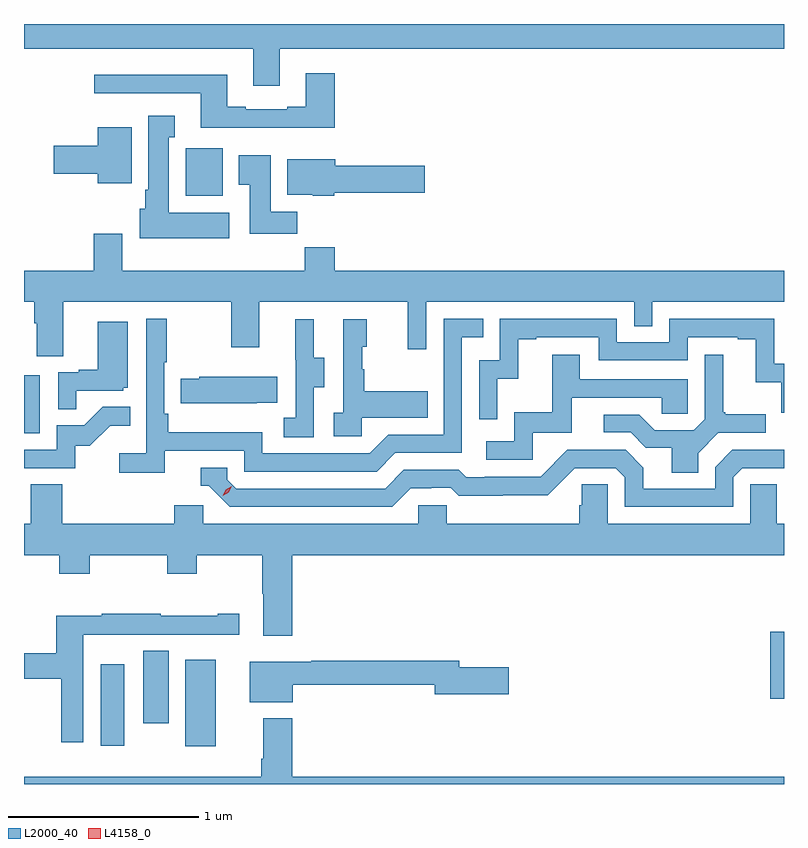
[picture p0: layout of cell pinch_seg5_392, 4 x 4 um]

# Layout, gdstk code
import gdstk
lib = gdstk.Library(unit=1e-6, precision=1e-09)
def R(c, l, rs):  # rectangles x0, y0, x1, y1
    for r in rs: c.add(gdstk.rectangle(r[:2], r[2:], *l))
def P(c, l, *ps):  # polygons
    for p in ps: c.add(gdstk.Polygon(p, *l))
L2000_40 = (2000, 40)
L4158_0 = (4158, 0)

pinch_seg5_392 = lib.new_cell('pinch_seg5_392')
R(pinch_seg5_392, L2000_40, [(995.198,865.077,995.359,865.534), (994.754,865.08,994.876,865.51), (994.976,865.2,995.11,865.58), (998.276,865.328,998.349,865.681), (994.349,866.724,994.432,867.031), (995.199,867.974,995.395,868.224)])
P(pinch_seg5_392, L2000_40, [(995.695,868.748),(998.349,868.748),(998.349,868.879),(994.349,868.879),(994.349,868.748),(995.555,868.748),(995.555,868.554),(995.695,868.554)],
  [(995.984,868.621),(995.831,868.621),(995.831,868.444),(995.735,868.444),(995.735,868.431),(995.515,868.431),(995.515,868.444),(995.419,868.444),(995.419,868.612),(994.719,868.612),(994.719,868.515),(995.279,868.515),(995.279,868.334),(995.984,868.334)],
  [(995.428,867.886),(995.11,867.886),(995.11,868.283),(995.143,868.283),(995.143,868.396),(995.003,868.396),(995.003,868.006),(994.988,868.006),(994.988,867.906),(994.958,867.906),(994.958,867.752),(995.428,867.752)],
  [(994.915,868.336),(994.736,868.336),(994.736,868.238),(994.506,868.238),(994.506,868.091),(994.736,868.091),(994.736,868.04),(994.915,868.04)],
  [(995.786,867.892),(995.647,867.892),(995.647,868.189),(995.48,868.189),(995.48,868.033),(995.537,868.033),(995.537,867.774),(995.786,867.774)],
  [(995.982,867.991),(996.457,867.991),(996.457,868.133),(995.986,868.133),(995.986,868.168),(995.735,868.168),(995.735,867.98),(995.868,867.98),(995.868,867.974),(995.982,867.974)],
  [(994.555,867.416),(995.44,867.416),(995.44,867.177),(995.587,867.177),(995.587,867.416),(996.368,867.416),(996.368,867.168),(996.465,867.168),(996.465,867.416),(997.56,867.416),(997.56,867.289),(997.656,867.289),(997.656,867.416),(998.349,867.416),(998.349,867.58),(995.984,867.58),(995.984,867.704),(995.827,867.704),(995.827,867.58),(994.867,867.58),(994.867,867.775),(994.715,867.775),(994.715,867.58),(994.349,867.58),(994.349,867.416),(994.403,867.416),(994.403,867.304),(994.415,867.304),(994.415,867.13),(994.555,867.13)],
  [(995.09,866.634),(995.508,866.634),(995.508,866.523),(996.205,866.523),(996.304,866.622),(996.654,866.622),(996.654,867.231),(996.767,867.231),(996.767,867.327),(996.558,867.327),(996.558,866.718),(996.267,866.718),(996.168,866.619),(995.604,866.619),(995.604,866.731),(995.108,866.731),(995.108,866.827),(995.088,866.827),(995.088,867.1),(995.101,867.1),(995.101,867.328),(994.992,867.328),(994.992,866.62),(994.851,866.62),(994.851,866.518),(995.09,866.518)],
  [(996.84,867.011),(996.95,867.011),(996.95,867.219),(997.045,867.219),(997.045,867.231),(997.374,867.231),(997.374,867.108),(997.842,867.108),(997.842,867.231),(998.105,867.231),(998.105,867.219),(998.201,867.219),(998.201,866.993),(998.334,866.993),(998.334,866.832),(998.349,866.832),(998.349,867.091),(998.298,867.091),(998.298,867.327),(997.746,867.327),(997.746,867.204),(997.47,867.204),(997.47,867.327),(996.852,867.327),(996.852,867.108),(996.744,867.108),(996.744,866.799),(996.84,866.799)],
  [(996.126,866.807),(996.473,866.807),(996.473,866.947),(996.139,866.947),(996.139,867.062),(996.129,867.062),(996.129,867.18),(996.154,867.18),(996.154,867.325),(996.03,867.325),(996.03,866.834),(995.979,866.834),(995.979,866.709),(996.126,866.709)],
  [(995.874,866.968),(995.929,866.968),(995.929,867.123),(995.875,867.123),(995.875,867.325),(995.777,867.325),(995.777,867.111),(995.778,867.111),(995.778,866.807),(995.715,866.807),(995.715,866.704),(995.874,866.704)],
  [(994.625,866.949),(994.872,866.949),(994.872,866.964),(994.894,866.964),(994.894,867.313),(994.736,867.313),(994.736,867.058),(994.637,867.058),(994.637,867.045),(994.53,867.045),(994.53,866.851),(994.625,866.851)],
  [(997.026,866.727),(997.231,866.727),(997.231,866.913),(997.705,866.913),(997.705,866.829),(997.842,866.829),(997.842,867.009),(997.273,867.009),(997.273,867.139),(997.129,867.139),(997.129,866.836),(996.93,866.836),(996.93,866.682),(996.783,866.682),(996.783,866.586),(997.026,866.586)],
  [(997.897,866.62),(998.004,866.727),(998.254,866.727),(998.254,866.824),(998.041,866.824),(998.041,866.836),(998.029,866.836),(998.029,867.139),(997.932,867.139),(997.932,866.799),(997.875,866.742),(997.669,866.742),(997.588,866.823),(997.401,866.823),(997.401,866.73),(997.542,866.73),(997.622,866.65),(997.757,866.65),(997.757,866.518),(997.897,866.518)],
  [(995.573,866.885),(995.681,866.885),(995.681,867.022),(995.271,867.022),(995.271,867.012),(995.173,867.012),(995.173,866.882),(995.573,866.882)],
  [(994.62,866.658),(994.696,866.658),(994.803,866.765),(994.907,866.765),(994.907,866.864),(994.763,866.864),(994.665,866.766),(994.521,866.766),(994.521,866.637),(994.349,866.637),(994.349,866.541),(994.62,866.541)],
  [(996.385,866.436),(996.492,866.436),(996.492,866.439),(996.595,866.439),(996.637,866.397),(996.87,866.397),(996.87,866.399),(997.106,866.399),(997.248,866.541),(997.464,866.541),(997.512,866.493),(997.512,866.337),(998.082,866.337),(998.082,866.493),(998.13,866.541),(998.349,866.541),(998.349,866.639),(998.292,866.639),(998.292,866.637),(998.076,866.637),(997.986,866.547),(997.986,866.433),(997.609,866.433),(997.609,866.543),(997.515,866.637),(997.209,866.637),(997.068,866.496),(996.775,866.496),(996.775,866.493),(996.676,866.493),(996.637,866.532),(996.348,866.532),(996.249,866.433),(995.466,866.433),(995.418,866.481),(995.418,866.544),(995.279,866.544),(995.279,866.448),(995.322,866.448),(995.433,866.337),(996.286,866.337)],
  [(995.762,866.084),(998.349,866.084),(998.349,866.248),(998.311,866.248),(998.311,866.456),(998.172,866.456),(998.172,866.248),(997.422,866.248),(997.422,866.456),(997.285,866.456),(997.285,866.346),(997.271,866.346),(997.271,866.248),(996.573,866.248),(996.573,866.346),(996.423,866.346),(996.423,866.248),(995.292,866.248),(995.292,866.346),(995.141,866.346),(995.141,866.248),(994.55,866.248),(994.55,866.456),(994.385,866.456),(994.385,866.248),(994.349,866.248),(994.349,866.084),(994.535,866.084),(994.535,865.985),(994.695,865.985),(994.695,866.084),(995.104,866.084),(995.104,865.985),(995.259,865.985),(995.259,866.084),(995.602,866.084),(995.602,865.88),(995.609,865.88),(995.609,865.659),(995.762,865.659)],
  [(994.662,865.664),(994.872,865.664),(994.872,865.665),(995.206,865.665),(995.206,865.664),(995.482,865.664),(995.482,865.774),(995.369,865.774),(995.369,865.764),(995.069,865.764),(995.069,865.774),(994.759,865.774),(994.759,865.764),(994.52,865.764),(994.52,865.568),(994.349,865.568),(994.349,865.432),(994.546,865.432),(994.546,865.098),(994.662,865.098)],
  [(995.764,865.401),(996.512,865.401),(996.512,865.351),(996.901,865.351),(996.901,865.493),(996.64,865.493),(996.64,865.529),(995.86,865.529),(995.86,865.522),(995.537,865.522),(995.537,865.31),(995.764,865.31)],
  [(998.349,864.916),(995.762,864.916),(995.762,865.225),(995.609,865.225),(995.609,865.012),(995.597,865.012),(995.597,864.916),(994.349,864.916),(994.349,864.879),(998.349,864.879)])
P(pinch_seg5_392, L4158_0, [(995.394,866.395),(995.394,866.396),(995.411,866.428),(995.442,866.447),(995.442,866.447),(995.442,866.447),(995.426,866.414),(995.395,866.395)])

lib.write_gds('pinch_seg5_392.gds')
